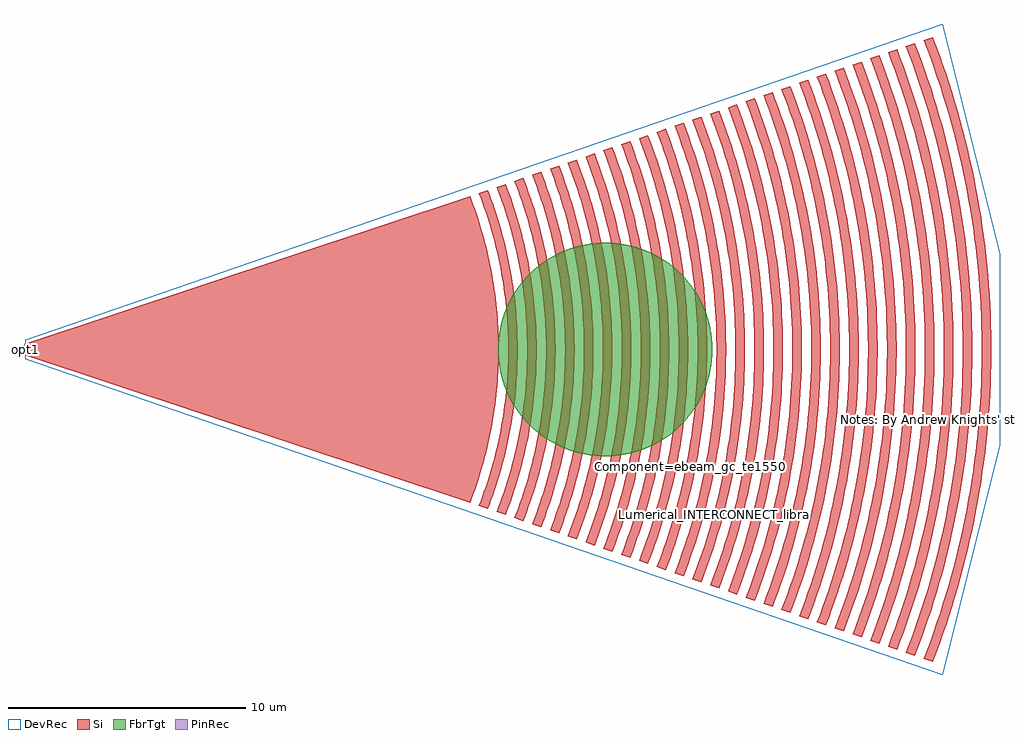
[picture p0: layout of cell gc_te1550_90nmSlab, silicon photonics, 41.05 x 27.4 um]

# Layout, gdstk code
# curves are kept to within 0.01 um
import gdstk
lib = gdstk.Library(unit=1e-6, precision=1e-09)
def R(c, l, rs):  # rectangles x0, y0, x1, y1
    for r in rs: c.add(gdstk.rectangle(r[:2], r[2:], *l))
def P(c, l, *ps):  # polygons
    for p in ps: c.add(gdstk.Polygon(p, *l))
Si = (1, 0)
PinRec = (1, 10)
DevRec = (68, 0)
FbrTgt = (81, 0)

gc_te1550_90nmslab = lib.new_cell('gc_te1550_90nmSlab')
P(gc_te1550_90nmslab, Si, [(100.71,-6.442),(82,-0.25),(82,0.25),(100.71,6.442),(100.986,5.682),(101.227,4.909),(101.432,4.125),(101.602,3.332),(101.736,2.531),(101.833,1.724),(101.894,0.914),(101.917,0.102),(101.903,-0.711),(101.852,-1.522),(101.764,-2.33),(101.639,-3.132),(101.478,-3.928),(101.227,-4.909),(100.986,-5.682)],
  [(101.459,-6.7),(101.082,-6.57),(101.364,-5.795),(101.61,-5.007),(101.82,-4.207),(101.994,-3.398),(102.131,-2.582),(102.23,-1.759),(102.292,-0.932),(102.315,-0.104),(102.301,0.725),(102.249,1.553),(102.159,2.376),(102.032,3.195),(101.867,4.006),(101.61,5.007),(101.364,5.795),(101.082,6.57),(101.459,6.7),(101.745,5.909),(101.996,5.105),(102.21,4.29),(102.387,3.465),(102.526,2.632),(102.627,1.793),(102.689,0.951),(102.714,0.106),(102.699,-0.74),(102.627,-1.793),(102.526,-2.632),(102.387,-3.465),(102.21,-4.29),(101.996,-5.105),(101.745,-5.909)],
  [(102.207,-6.958),(101.83,-6.828),(102.123,-6.022),(102.379,-5.203),(102.597,-4.372),(102.778,-3.532),(102.92,-2.683),(103.023,-1.828),(103.087,-0.969),(103.112,-0.108),(103.097,0.754),(103.043,1.613),(102.95,2.47),(102.778,3.532),(102.597,4.372),(102.379,5.203),(102.123,6.022),(101.83,6.828),(102.207,6.958),(102.505,6.137),(102.765,5.302),(102.987,4.455),(103.171,3.598),(103.315,2.733),(103.42,1.862),(103.485,0.987),(103.51,0.11),(103.495,-0.768),(103.44,-1.644),(103.345,-2.516),(103.171,-3.598),(102.987,-4.455),(102.765,-5.302),(102.505,-6.137)],
  [(102.955,-7.216),(102.579,-7.086),(102.882,-6.25),(103.148,-5.4),(103.375,-4.537),(103.562,-3.665),(103.71,-2.784),(103.817,-1.897),(103.883,-1.005),(103.909,-0.112),(103.893,0.782),(103.837,1.674),(103.74,2.563),(103.603,3.445),(103.375,4.537),(103.148,5.4),(102.882,6.25),(102.579,7.086),(102.955,7.216),(103.264,6.364),(103.534,5.498),(103.764,4.62),(103.955,3.732),(104.105,2.835),(104.213,1.931),(104.281,1.024),(104.307,0.114),(104.291,-0.796),(104.234,-1.705),(104.105,-2.835),(103.955,-3.732),(103.764,-4.62),(103.534,-5.498),(103.264,-6.364)],
  [(103.704,-7.473),(103.327,-7.344),(103.642,-6.477),(103.917,-5.596),(104.152,-4.702),(104.346,-3.798),(104.499,-2.885),(104.61,-1.966),(104.679,-1.042),(104.705,-0.116),(104.689,0.811),(104.631,1.735),(104.531,2.656),(104.388,3.571),(104.204,4.477),(103.98,5.374),(103.642,6.477),(103.327,7.344),(103.704,7.473),(104.023,6.591),(104.303,5.695),(104.542,4.785),(104.739,3.865),(104.894,2.936),(105.007,2),(105.077,1.06),(105.104,0.118),(105.087,-0.825),(105.028,-1.766),(104.926,-2.703),(104.782,-3.633),(104.542,-4.785),(104.303,-5.695),(104.023,-6.591)],
  [(104.452,-7.731),(104.076,-7.601),(104.401,-6.704),(104.686,-5.792),(104.929,-4.867),(105.13,-3.931),(105.288,-2.986),(105.403,-2.035),(105.475,-1.079),(105.502,-0.12),(105.486,0.839),(105.425,1.796),(105.321,2.749),(105.174,3.696),(104.984,4.634),(104.751,5.562),(104.476,6.478),(104.076,7.601),(104.452,7.731),(104.783,6.819),(105.072,5.891),(105.319,4.95),(105.523,3.998),(105.684,3.037),(105.8,2.069),(105.872,1.097),(105.9,0.122),(105.884,-0.853),(105.8,-2.069),(105.684,-3.037),(105.523,-3.998),(105.319,-4.95),(105.072,-5.891),(104.783,-6.819)],
  [(105.201,-7.989),(104.824,-7.859),(105.161,-6.932),(105.455,-5.989),(105.707,-5.032),(105.914,-4.065),(106.078,-3.088),(106.197,-2.104),(106.27,-1.115),(106.299,-0.124),(106.282,0.868),(106.197,2.104),(106.078,3.088),(105.914,4.065),(105.707,5.032),(105.455,5.989),(105.161,6.932),(104.824,7.859),(105.201,7.989),(105.542,7.046),(105.841,6.087),(106.096,5.115),(106.307,4.131),(106.473,3.138),(106.593,2.138),(106.668,1.133),(106.697,0.126),(106.68,-0.882),(106.616,-1.887),(106.507,-2.889),(106.353,-3.884),(106.153,-4.87),(105.909,-5.845),(105.621,-6.808)],
  [(105.949,-8.246),(105.572,-8.117),(105.92,-7.159),(106.224,-6.185),(106.484,-5.197),(106.698,-4.198),(106.867,-3.189),(106.99,-2.173),(107.066,-1.152),(107.095,-0.128),(107.078,0.896),(107.013,1.918),(106.902,2.936),(106.745,3.946),(106.542,4.948),(106.224,6.185),(105.92,7.159),(105.572,8.117),(105.949,8.246),(106.302,7.273),(106.61,6.284),(106.874,5.28),(107.091,4.265),(107.262,3.24),(107.387,2.207),(107.464,1.17),(107.494,0.13),(107.476,-0.91),(107.411,-1.948),(107.298,-2.982),(107.091,-4.265),(106.874,-5.28),(106.61,-6.284),(106.302,-7.273)],
  [(106.698,-8.504),(106.321,-8.374),(106.68,-7.386),(106.993,-6.381),(107.261,-5.362),(107.483,-4.331),(107.657,-3.29),(107.783,-2.242),(107.862,-1.188),(107.892,-0.132),(107.874,0.924),(107.807,1.979),(107.693,3.029),(107.531,4.072),(107.321,5.106),(107.065,6.128),(106.68,7.386),(106.321,8.374),(106.698,8.504),(107.061,7.5),(107.379,6.48),(107.651,5.445),(107.875,4.398),(108.052,3.341),(108.18,2.276),(108.26,1.207),(108.29,0.134),(108.272,-0.939),(108.205,-2.009),(108.088,-3.075),(107.924,-4.134),(107.651,-5.445),(107.379,-6.48),(107.061,-7.5)],
  [(107.446,-8.762),(107.069,-8.632),(107.439,-7.613),(107.762,-6.578),(108.038,-5.527),(108.267,-4.464),(108.446,-3.391),(108.577,-2.311),(108.658,-1.225),(108.689,-0.136),(108.67,0.953),(108.602,2.04),(108.446,3.391),(108.267,4.464),(108.038,5.527),(107.762,6.578),(107.439,7.613),(107.069,8.632),(107.446,8.762),(107.821,7.728),(108.148,6.676),(108.428,5.61),(108.659,4.531),(108.841,3.442),(108.973,2.345),(109.055,1.243),(109.087,0.138),(109.068,-0.967),(108.999,-2.07),(108.879,-3.169),(108.71,-4.26),(108.491,-5.341),(108.223,-6.411),(107.821,-7.728)],
  [(108.194,-9.019),(107.818,-8.89),(108.198,-7.841),(108.531,-6.774),(108.816,-5.692),(109.051,-4.598),(109.236,-3.493),(109.37,-2.38),(109.453,-1.261),(109.485,-0.14),(109.466,0.981),(109.396,2.101),(109.274,3.215),(109.102,4.322),(108.879,5.42),(108.607,6.505),(108.286,7.576),(107.818,8.89),(108.194,9.019),(108.58,7.955),(108.917,6.873),(109.205,5.775),(109.443,4.664),(109.631,3.543),(109.767,2.414),(109.851,1.28),(109.884,0.142),(109.864,-0.996),(109.793,-2.131),(109.67,-3.262),(109.495,-4.385),(109.27,-5.499),(108.994,-6.6),(108.669,-7.686)],
  [(108.943,-9.277),(108.566,-9.147),(108.958,-8.068),(109.3,-6.971),(109.593,-5.857),(109.835,-4.731),(110.025,-3.594),(110.163,-2.449),(110.249,-1.298),(110.282,-0.144),(110.262,1.01),(110.19,2.161),(110.065,3.308),(109.835,4.731),(109.593,5.857),(109.3,6.971),(108.958,8.068),(108.566,9.147),(108.943,9.277),(109.339,8.182),(109.686,7.069),(109.983,5.94),(110.228,4.798),(110.42,3.645),(110.56,2.483),(110.647,1.316),(110.68,0.146),(110.66,-1.024),(110.587,-2.192),(110.46,-3.355),(110.228,-4.798),(109.983,-5.94),(109.686,-7.069),(109.339,-8.182)],
  [(109.691,-9.535),(109.315,-9.405),(109.717,-8.295),(110.07,-7.167),(110.37,-6.022),(110.619,-4.864),(110.815,-3.695),(110.957,-2.518),(111.045,-1.335),(111.079,-0.148),(111.058,1.038),(110.984,2.222),(110.855,3.401),(110.673,4.573),(110.437,5.734),(110.3,6.31),(110.07,7.167),(109.717,8.295),(109.315,9.405),(109.691,9.535),(110.099,8.41),(110.455,7.265),(110.76,6.105),(111.012,4.931),(111.21,3.746),(111.353,2.552),(111.443,1.353),(111.477,0.15),(111.456,-1.052),(111.381,-2.253),(111.323,-2.851),(111.21,-3.746),(111.012,-4.931),(110.76,-6.105),(110.455,-7.265),(110.099,-8.41)],
  [(110.44,-9.793),(110.063,-9.663),(110.477,-8.523),(110.839,-7.363),(111.148,-6.187),(111.403,-4.998),(111.604,-3.796),(111.75,-2.587),(111.841,-1.371),(111.875,-0.152),(111.854,1.067),(111.778,2.283),(111.646,3.495),(111.559,4.098),(111.403,4.998),(111.148,6.187),(110.839,7.363),(110.477,8.523),(110.063,9.663),(110.44,9.793),(110.858,8.637),(111.225,7.462),(111.537,6.27),(111.796,5.064),(111.999,3.847),(112.147,2.621),(112.238,1.389),(112.274,0.154),(112.253,-1.081),(112.175,-2.314),(112.041,-3.541),(111.852,-4.761),(111.607,-5.97),(111.388,-6.868),(111.225,-7.462),(110.858,-8.637)],
  [(111.188,-10.05),(110.811,-9.921),(111.236,-8.75),(111.608,-7.56),(111.925,-6.352),(112.187,-5.131),(112.393,-3.898),(112.543,-2.656),(112.636,-1.408),(112.672,-0.156),(112.651,1.095),(112.572,2.344),(112.436,3.588),(112.244,4.823),(111.996,6.048),(111.851,6.656),(111.608,7.56),(111.236,8.75),(110.811,9.921),(111.188,10.05),(111.618,8.864),(111.994,7.658),(112.315,6.435),(112.58,5.198),(112.789,3.948),(112.94,2.69),(113.034,1.426),(113.07,0.159),(113.049,-1.109),(112.969,-2.375),(112.872,-3.32),(112.789,-3.948),(112.58,-5.198),(112.315,-6.435),(111.994,-7.658),(111.618,-8.864)],
  [(111.936,-10.308),(111.56,-10.178),(111.996,-8.977),(112.377,-7.756),(112.702,-6.517),(112.971,-5.264),(113.183,-3.999),(113.337,-2.725),(113.432,-1.444),(113.469,-0.161),(113.447,1.124),(113.366,2.405),(113.227,3.681),(113.03,4.949),(112.775,6.205),(112.547,7.139),(112.377,7.756),(111.996,8.977),(111.56,10.178),(111.936,10.308),(112.377,9.091),(112.763,7.855),(113.092,6.6),(113.364,5.331),(113.578,4.05),(113.733,2.759),(113.83,1.463),(113.867,0.163),(113.845,-1.138),(113.763,-2.435),(113.622,-3.728),(113.423,-5.012),(113.235,-5.967),(113.092,-6.6),(112.763,-7.855),(112.377,-9.091)],
  [(112.685,-10.566),(112.308,-10.436),(112.755,-9.204),(113.146,-7.952),(113.48,-6.682),(113.755,-5.397),(113.972,-4.1),(114.13,-2.794),(114.228,-1.481),(114.265,-0.165),(114.243,1.152),(114.16,2.466),(114.017,3.774),(113.815,5.074),(113.554,6.362),(113.235,7.636),(112.858,8.893),(112.538,9.823),(112.308,10.436),(112.685,10.566),(113.137,9.319),(113.532,8.051),(113.869,6.765),(114.148,5.464),(114.367,4.151),(114.527,2.828),(114.626,1.499),(114.664,0.167),(114.641,-1.166),(114.557,-2.496),(114.413,-3.821),(114.209,-5.137),(113.944,-6.441),(113.622,-7.731),(113.438,-8.37),(113.137,-9.319)],
  [(113.433,-10.823),(113.057,-10.694),(113.514,-9.432),(113.915,-8.149),(114.257,-6.847),(114.539,-5.531),(114.762,-4.201),(114.923,-2.863),(115.024,-1.517),(115.062,-0.169),(115.039,1.18),(114.954,2.527),(114.808,3.867),(114.601,5.199),(114.406,6.191),(114.257,6.847),(113.915,8.149),(113.514,9.432),(113.057,10.694),(113.433,10.823),(113.896,9.546),(114.301,8.247),(114.647,6.93),(114.932,5.597),(115.157,4.252),(115.32,2.897),(115.421,1.536),(115.46,0.171),(115.437,-1.195),(115.351,-2.557),(115.204,-3.914),(114.994,-5.262),(114.724,-6.598),(114.393,-7.92),(114.003,-9.223),(113.786,-9.867)],
  [(114.182,-11.081),(113.805,-10.951),(114.274,-9.659),(114.684,-8.345),(115.034,-7.012),(115.324,-5.664),(115.551,-4.303),(115.717,-2.932),(115.819,-1.554),(115.859,-0.173),(115.835,1.209),(115.8,1.899),(115.717,2.932),(115.551,4.303),(115.324,5.664),(115.034,7.012),(114.684,8.345),(114.274,9.659),(113.805,10.951),(114.182,11.081),(114.655,9.773),(115.07,8.444),(115.424,7.095),(115.716,5.731),(115.946,4.353),(116.114,2.966),(116.217,1.572),(116.257,0.175),(116.233,-1.223),(116.145,-2.618),(115.994,-4.007),(115.78,-5.387),(115.503,-6.755),(115.341,-7.434),(115.07,-8.444),(114.655,-9.773)],
  [(114.93,-11.339),(114.553,-11.209),(115.033,-9.886),(115.453,-8.541),(115.811,-7.177),(116.108,-5.797),(116.341,-4.404),(116.51,-3.001),(116.615,-1.59),(116.655,-0.177),(116.643,0.884),(116.615,1.59),(116.51,3.001),(116.341,4.404),(116.108,5.797),(115.811,7.177),(115.453,8.541),(115.033,9.886),(114.553,11.209),(114.93,11.339),(115.415,10),(115.839,8.64),(116.201,7.26),(116.5,5.864),(116.736,4.455),(116.907,3.035),(117.013,1.609),(117.054,0.179),(117.029,-1.252),(116.939,-2.679),(116.785,-4.1),(116.565,-5.513),(116.282,-6.912),(116.028,-7.952),(115.839,-8.64),(115.415,-10)],
  [(115.678,-11.596),(115.302,-11.467),(115.793,-10.114),(116.222,-8.738),(116.589,-7.342),(116.892,-5.93),(117.13,-4.505),(117.303,-3.07),(117.411,-1.627),(117.452,-0.181),(117.44,0.904),(117.411,1.627),(117.303,3.07),(117.13,4.505),(116.892,5.93),(116.589,7.342),(116.222,8.738),(115.793,10.114),(115.302,11.467),(115.678,11.596),(116.174,10.228),(116.608,8.836),(116.978,7.425),(117.284,5.997),(117.525,4.556),(117.7,3.104),(117.809,1.645),(117.85,0.183),(117.825,-1.28),(117.734,-2.74),(117.575,-4.194),(117.351,-5.638),(117.061,-7.07),(116.707,-8.485),(116.289,-9.882),(115.934,-10.915)],
  [(116.427,-11.854),(116.05,-11.724),(116.552,-10.341),(116.991,-8.934),(117.366,-7.507),(117.676,-6.064),(117.92,-4.606),(118.097,-3.139),(118.207,-1.664),(118.249,-0.185),(118.245,0.555),(118.207,1.664),(118.097,3.139),(117.92,4.606),(117.676,6.064),(117.366,7.507),(116.991,8.934),(116.552,10.341),(116.05,11.724),(116.427,11.854),(116.934,10.455),(117.377,9.033),(117.756,7.59),(118.069,6.13),(118.315,4.657),(118.494,3.173),(118.604,1.682),(118.647,0.187),(118.622,-1.308),(118.583,-2.055),(118.494,-3.173),(118.315,-4.657),(118.069,-6.13),(117.756,-7.59),(117.377,-9.033),(116.934,-10.455)],
  [(117.175,-12.112),(116.799,-11.982),(117.312,-10.568),(117.76,-9.13),(118.143,-7.672),(118.46,-6.197),(118.709,-4.708),(118.89,-3.207),(119.002,-1.7),(119.045,-0.189),(119.033,0.945),(118.955,2.455),(118.808,3.959),(118.653,5.081),(118.529,5.826),(118.31,6.937),(117.96,8.404),(117.654,9.492),(117.43,10.211),(117.063,11.278),(116.799,11.982),(117.175,12.112),(117.693,10.682),(118.146,9.229),(118.533,7.755),(118.853,6.264),(119.104,4.758),(119.287,3.242),(119.4,1.718),(119.444,0.191),(119.418,-1.337),(119.322,-2.862),(119.248,-3.622),(119.104,-4.758),(118.853,-6.264),(118.533,-7.755),(118.146,-9.229),(117.693,-10.682)],
  [(117.924,-12.37),(117.547,-12.24),(118.071,-10.795),(118.529,-9.327),(118.921,-7.837),(119.244,-6.33),(119.499,-4.809),(119.683,-3.276),(119.798,-1.737),(119.842,-0.193),(119.816,1.351),(119.749,2.507),(119.6,4.044),(119.441,5.19),(119.17,6.708),(118.921,7.837),(118.733,8.585),(118.421,9.696),(118.192,10.43),(117.946,11.159),(117.547,12.24),(117.924,12.37),(118.453,10.91),(118.915,9.425),(119.31,7.92),(119.637,6.397),(119.894,4.859),(120.08,3.311),(120.196,1.755),(120.24,0.195),(120.214,-1.365),(120.116,-2.923),(119.947,-4.473),(119.708,-6.014),(119.398,-7.541),(119.02,-9.051),(118.806,-9.799),(118.453,-10.91)],
  [(118.672,-12.627),(118.295,-12.498),(118.703,-11.394),(118.954,-10.65),(119.405,-9.145),(119.605,-8.384),(119.872,-7.235),(120.1,-6.076),(120.23,-5.3),(120.391,-4.129),(120.513,-2.953),(120.594,-1.773),(120.639,-0.197),(120.612,1.379),(120.544,2.56),(120.436,3.737),(120.23,5.3),(120.1,6.076),(119.872,7.235),(119.605,8.384),(119.405,9.145),(118.954,10.65),(118.703,11.394),(118.295,12.498),(118.672,12.627),(119.212,11.137),(119.684,9.622),(120.088,8.085),(120.421,6.53),(120.683,4.961),(120.874,3.38),(120.992,1.792),(121.037,0.199),(121.024,-0.996),(120.992,-1.792),(120.874,-3.38),(120.683,-4.961),(120.421,-6.53),(120.088,-8.085),(119.684,-9.622),(119.212,-11.137)],
  [(119.42,-12.885),(119.044,-12.755),(119.46,-11.629),(119.716,-10.87),(120.067,-9.72),(120.28,-8.946),(120.653,-7.384),(120.812,-6.597),(121.018,-5.409),(121.183,-4.214),(121.307,-3.014),(121.408,-1.408),(121.435,-0.201),(121.422,1.006),(121.339,2.613),(121.229,3.815),(121.018,5.409),(120.735,6.991),(120.566,7.776),(120.28,8.946),(120.067,9.72),(119.716,10.87),(119.46,11.629),(119.044,12.755),(119.42,12.885),(119.971,11.364),(120.453,9.818),(120.865,8.25),(121.205,6.664),(121.473,5.062),(121.667,3.449),(121.787,1.828),(121.834,0.203),(121.806,-1.422),(121.704,-3.044),(121.528,-4.66),(121.279,-6.264),(120.957,-7.855),(120.563,-9.428),(120.098,-10.98),(119.84,-11.747)],
  [(120.169,-13.143),(119.792,-13.013),(120.079,-12.249),(120.478,-11.089),(120.947,-9.522),(121.253,-8.332),(121.434,-7.533),(121.671,-6.327),(121.806,-5.518),(122.021,-3.892),(122.134,-2.666),(122.204,-1.436),(122.232,-0.205),(122.218,1.026),(122.134,2.666),(122.021,3.892),(121.806,5.518),(121.671,6.327),(121.434,7.533),(121.253,8.332),(120.947,9.522),(120.478,11.089),(120.079,12.249),(119.792,13.013),(120.169,13.143),(120.731,11.591),(120.986,10.806),(121.222,10.014),(121.642,8.415),(121.989,6.797),(122.262,5.163),(122.46,3.518),(122.583,1.865),(122.631,0.207),(122.602,-1.451),(122.56,-2.279),(122.498,-3.105),(122.319,-4.753),(122.135,-5.982),(121.989,-6.797),(121.642,-8.415),(121.222,-10.014),(120.986,-10.806),(120.731,-11.591)])
R(gc_te1550_90nmslab, PinRec, [(81.95,-0.25,82.05,0.25)])
P(gc_te1550_90nmslab, DevRec, [(120.6,-13.7),(82,-0.4),(82,0.4),(120.6,13.7),(123,4),(123,-4)])
P(gc_te1550_90nmslab, FbrTgt, [(106.179,-4.5),(105.739,-4.457),(105.305,-4.37),(104.882,-4.242),(104.474,-4.073),(104.084,-3.864),(103.716,-3.619),(103.374,-3.338),(103.062,-3.026),(102.781,-2.684),(102.536,-2.316),(102.327,-1.926),(102.158,-1.518),(102.03,-1.095),(101.943,-0.661),(101.9,-0.221),(101.9,0.221),(101.943,0.661),(102.03,1.095),(102.158,1.518),(102.327,1.926),(102.536,2.316),(102.781,2.684),(103.062,3.026),(103.374,3.338),(103.716,3.619),(104.084,3.864),(104.474,4.073),(104.882,4.242),(105.305,4.37),(105.739,4.457),(106.179,4.5),(106.621,4.5),(107.061,4.457),(107.495,4.37),(107.918,4.242),(108.326,4.073),(108.716,3.864),(109.084,3.619),(109.426,3.338),(109.738,3.026),(110.019,2.684),(110.264,2.316),(110.473,1.926),(110.642,1.518),(110.77,1.095),(110.857,0.661),(110.9,0.221),(110.9,-0.221),(110.857,-0.661),(110.77,-1.095),(110.642,-1.518),(110.473,-1.926),(110.264,-2.316),(110.019,-2.684),(109.738,-3.026),(109.426,-3.338),(109.084,-3.619),(108.716,-3.864),(108.326,-4.073),(107.918,-4.242),(107.495,-4.37),(107.061,-4.457),(106.621,-4.5)])
gc_te1550_90nmslab.add(gdstk.Label("Notes: By Andrew Knights' student, using Oscar Yun Wang's UGC code; Purpose: GC which is partially etched, 90 nm remaining everywhere", (120,-2.929), layer=68, texttype=0))
gc_te1550_90nmslab.add(gdstk.Label('Component=ebeam_gc_te1550', (110,-4.929), layer=68, texttype=0))
gc_te1550_90nmslab.add(gdstk.Label('Lumerical_INTERCONNECT_library=Design kits/ebeam', (111,-6.929), layer=68, texttype=0))
gc_te1550_90nmslab.add(gdstk.Label('opt1', (82,0), layer=1, texttype=10))

lib.write_gds('gc_te1550_90nmSlab.gds')
